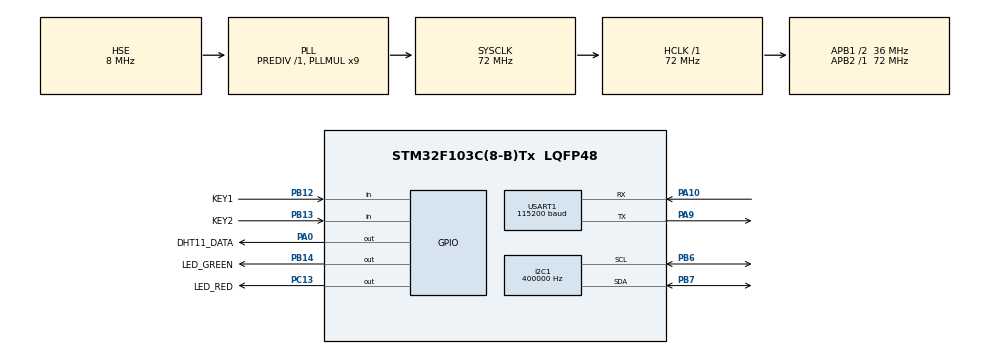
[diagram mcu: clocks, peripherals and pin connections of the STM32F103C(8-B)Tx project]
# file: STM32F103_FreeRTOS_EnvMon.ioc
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Dma.I2C1_TX.0.Direction=DMA_MEMORY_TO_PERIPH
Dma.I2C1_TX.0.Instance=DMA1_Channel6
Dma.I2C1_TX.0.MemDataAlignment=DMA_MDATAALIGN_BYTE
Dma.I2C1_TX.0.MemInc=DMA_MINC_ENABLE
Dma.I2C1_TX.0.Mode=DMA_NORMAL
Dma.I2C1_TX.0.PeriphDataAlignment=DMA_PDATAALIGN_BYTE
Dma.I2C1_TX.0.PeriphInc=DMA_PINC_DISABLE
Dma.I2C1_TX.0.Priority=DMA_PRIORITY_LOW
Dma.Request0=I2C1_TX
FREERTOS.Tasks01=defaultTask,24,128,StartDefaultTask,Default,NULL,Dynamic,NULL,NULL
FREERTOS.configCHECK_FOR_STACK_OVERFLOW=2
FREERTOS.configTOTAL_HEAP_SIZE=10240
FREERTOS.configUSE_MALLOC_FAILED_HOOK=1
I2C1.ClockSpeed=400000
IWDG.Prescaler=IWDG_PRESCALER_64
IWDG.Reload=1250
Mcu.Family=STM32F1
Mcu.Name=STM32F103C(8-B)Tx
Mcu.Package=LQFP48
NVIC.DMA1_Channel6_IRQn=true\:5\:0\:false\:false\:true\:true\:false\:true\:true
NVIC.I2C1_ER_IRQn=true\:6\:0\:false\:false\:true\:true\:true\:true\:true
NVIC.I2C1_EV_IRQn=true\:6\:0\:false\:false\:true\:true\:true\:true\:true
NVIC.PriorityGroup=NVIC_PRIORITYGROUP_4
NVIC.TIM4_IRQn=true\:15\:0\:false\:false\:true\:false\:false\:true\:true
NVIC.TimeBase=TIM4_IRQn
NVIC.TimeBaseIP=TIM4
PA0-WKUP.GPIO_Label=DHT11_DATA
PA0-WKUP.GPIO_ModeDefaultOutputPP=GPIO_MODE_OUTPUT_OD
PA0-WKUP.Signal=GPIO_Output
PA9.Mode=Asynchronous
PA9.Signal=USART1_TX
PA10.Mode=Asynchronous
PA10.Signal=USART1_RX
PB6.Mode=I2C
PB6.Signal=I2C1_SCL
PB7.Mode=I2C
PB7.Signal=I2C1_SDA
PB12.GPIO_Label=KEY1
PB12.GPIO_PuPd=GPIO_PULLUP
PB12.Signal=GPIO_Input
PB13.GPIO_Label=KEY2
PB13.GPIO_PuPd=GPIO_PULLUP
PB13.Signal=GPIO_Input
PB14.GPIO_Label=LED_GREEN
PB14.Signal=GPIO_Output
PC13-TAMPER-RTC.GPIO_Label=LED_RED
PC13-TAMPER-RTC.Signal=GPIO_Output
PD0-OSC_IN.Mode=HSE-External-Oscillator
PD0-OSC_IN.Signal=RCC_OSC_IN
PD1-OSC_OUT.Mode=HSE-External-Oscillator
PD1-OSC_OUT.Signal=RCC_OSC_OUT
ProjectManager.HeapSize=0x200
ProjectManager.StackSize=0x400
ProjectManager.TargetToolchain=STM32CubeIDE
RCC.AHBFreq_Value=72000000
RCC.APB1CLKDivider=RCC_HCLK_DIV2
RCC.APB1Freq_Value=36000000
RCC.APB1TimFreq_Value=72000000
RCC.APB2Freq_Value=72000000
RCC.APB2TimFreq_Value=72000000
RCC.HCLKFreq_Value=72000000
RCC.PLLMUL=RCC_PLL_MUL9
RCC.PLLSourceVirtual=RCC_PLLSOURCE_HSE
RCC.SYSCLKFreq_VALUE=72000000
RCC.SYSCLKSource=RCC_SYSCLKSOURCE_PLLCLK
RCC.USBFreq_Value=48000000
USART1.BaudRate=115200
USART1.VirtualMode=VM_ASYNC
VP_FREERTOS_VS_CMSIS_V2.Mode=CMSIS_V2
VP_IWDG_VS_WDT.Mode=IWDG_Activate
VP_SYS_VS_tim4.Mode=TIM4
board=custom

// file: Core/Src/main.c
/* USER CODE BEGIN Header */
/**
  ******************************************************************************
  * @file           : main.c
  * @brief          : Main program body
  ******************************************************************************
  * @attention
  *
  * Copyright (c) 2026 STMicroelectronics.
  * All rights reserved.
  *
  * This software is licensed under terms that can be found in the LICENSE file
  * in the root directory of this software component.
  * If no LICENSE file comes with this software, it is provided AS-IS.
  *
  ******************************************************************************
  */
/* USER CODE END Header */
#include "main.h"
#include "cmsis_os.h"

/* USER CODE BEGIN Includes */
#include "global.h"
/* USER CODE END Includes */

I2C_HandleTypeDef hi2c1;
DMA_HandleTypeDef hdma_i2c1_tx;
UART_HandleTypeDef huart1;
IWDG_HandleTypeDef hiwdg;

/* USER CODE BEGIN PV */
volatile uint8_t g_dht_error_count = 0;
osMutexId_t i2cMutexHandle;
/* USER CODE END PV */

void SystemClock_Config(void);
static void MX_GPIO_Init(void);
static void MX_DMA_Init(void);
static void MX_I2C1_Init(void);
static void MX_USART1_UART_Init(void);
static void MX_IWDG_Init(void);
extern void MX_FREERTOS_Init(void);

/* USER CODE BEGIN PFP */
static void DWT_Init(void);
/* USER CODE END PFP */

/* USER CODE BEGIN 0 */
static void DWT_Init(void) {
    CoreDebug->DEMCR |= CoreDebug_DEMCR_TRCENA_Msk;
    DWT->CYCCNT = 0;
    DWT->CTRL |= DWT_CTRL_CYCCNTENA_Msk;
}
/* USER CODE END 0 */

int main(void)
{

  /* MCU Configuration--------------------------------------------------------*/

  /* Reset of all peripherals, Initializes the Flash interface and the Systick. */
  HAL_Init();

  /* Configure the system clock */
  SystemClock_Config();

  /* Initialize all configured peripherals */
  MX_GPIO_Init();
  MX_DMA_Init();
  MX_I2C1_Init();
  MX_USART1_UART_Init();
  MX_IWDG_Init();
  /* USER CODE BEGIN 2 */
  DWT_Init();
  /* USER CODE END 2 */

  /* Init scheduler */
  osKernelInitialize();

  /* USER CODE BEGIN RTOS_MUTEX */
  const osMutexAttr_t i2cMutex_attr = {
      .name = "i2cMutex",
      .attr_bits = osMutexPrioInherit,
      .cb_mem = NULL,
      .cb_size = 0U
  };
  i2cMutexHandle = osMutexNew(&i2cMutex_attr);
  /* USER CODE END RTOS_MUTEX */

  /* Create the thread(s) */
  MX_FREERTOS_Init();

  /* Start scheduler */
  osKernelStart();
  /* We should never get here as control is now taken by the scheduler */
  /* Infinite loop */
  while (1)
  {

  }
}

void SystemClock_Config(void)
{
  RCC_OscInitTypeDef RCC_OscInitStruct = {0};
  RCC_ClkInitTypeDef RCC_ClkInitStruct = {0};

  /** Initializes the RCC Oscillators according to the specified parameters
  * in the RCC_OscInitTypeDef structure.
  * HSE 8MHz crystal + PLL x9 = 72MHz SYSCLK
  * LSI enabled for IWDG
  */
  RCC_OscInitStruct.OscillatorType = RCC_OSCILLATORTYPE_HSE | RCC_OSCILLATORTYPE_LSI;
  RCC_OscInitStruct.HSEState = RCC_HSE_ON;
  RCC_OscInitStruct.HSEPredivValue = RCC_HSE_PREDIV_DIV1;
  RCC_OscInitStruct.HSIState = RCC_HSI_ON;
  RCC_OscInitStruct.LSIState = RCC_LSI_ON;
  RCC_OscInitStruct.PLL.PLLState = RCC_PLL_ON;
  RCC_OscInitStruct.PLL.PLLSource = RCC_PLLSOURCE_HSE;
  RCC_OscInitStruct.PLL.PLLMUL = RCC_PLL_MUL9;
  if (HAL_RCC_OscConfig(&RCC_OscInitStruct) != HAL_OK)
  {
    Error_Handler();
  }

  /** Initializes the CPU, AHB and APB buses clocks
  * HCLK  = 72MHz (AHB /1)
  * PCLK1 = 36MHz (APB1 /2)
  * PCLK2 = 72MHz (APB2 /1)
  */
  RCC_ClkInitStruct.ClockType = RCC_CLOCKTYPE_HCLK|RCC_CLOCKTYPE_SYSCLK
                              |RCC_CLOCKTYPE_PCLK1|RCC_CLOCKTYPE_PCLK2;
  RCC_ClkInitStruct.SYSCLKSource = RCC_SYSCLKSOURCE_PLLCLK;
  RCC_ClkInitStruct.AHBCLKDivider = RCC_SYSCLK_DIV1;
  RCC_ClkInitStruct.APB1CLKDivider = RCC_HCLK_DIV2;
  RCC_ClkInitStruct.APB2CLKDivider = RCC_HCLK_DIV1;

  if (HAL_RCC_ClockConfig(&RCC_ClkInitStruct, FLASH_LATENCY_2) != HAL_OK)
  {
    Error_Handler();
  }
}

static void MX_I2C1_Init(void)
{

  hi2c1.Instance = I2C1;
  hi2c1.Init.ClockSpeed = 400000;
  hi2c1.Init.DutyCycle = I2C_DUTYCYCLE_2;
  hi2c1.Init.OwnAddress1 = 0;
  hi2c1.Init.AddressingMode = I2C_ADDRESSINGMODE_7BIT;
  hi2c1.Init.DualAddressMode = I2C_DUALADDRESS_DISABLE;
  hi2c1.Init.OwnAddress2 = 0;
  hi2c1.Init.GeneralCallMode = I2C_GENERALCALL_DISABLE;
  hi2c1.Init.NoStretchMode = I2C_NOSTRETCH_DISABLE;
  if (HAL_I2C_Init(&hi2c1) != HAL_OK)
  {
    Error_Handler();
  }

}

static void MX_USART1_UART_Init(void)
{

  huart1.Instance = USART1;
  huart1.Init.BaudRate = 115200;
  huart1.Init.WordLength = UART_WORDLENGTH_8B;
  huart1.Init.StopBits = UART_STOPBITS_1;
  huart1.Init.Parity = UART_PARITY_NONE;
  huart1.Init.Mode = UART_MODE_TX_RX;
  huart1.Init.HwFlowCtl = UART_HWCONTROL_NONE;
  huart1.Init.OverSampling = UART_OVERSAMPLING_16;
  if (HAL_UART_Init(&huart1) != HAL_OK)
  {
    Error_Handler();
  }

}

static void MX_IWDG_Init(void)
{

  hiwdg.Instance = IWDG;
  hiwdg.Init.Prescaler = IWDG_PRESCALER_64;
  hiwdg.Init.Reload = 1250;
  if (HAL_IWDG_Init(&hiwdg) != HAL_OK)
  {
    Error_Handler();
  }

}

static void MX_DMA_Init(void)
{

  /* DMA controller clock enable */
  __HAL_RCC_DMA1_CLK_ENABLE();

  /* DMA interrupt init */
  /* DMA1_Channel6_IRQn interrupt configuration */
  HAL_NVIC_SetPriority(DMA1_Channel6_IRQn, 5, 0);
  HAL_NVIC_EnableIRQ(DMA1_Channel6_IRQn);

}

static void MX_GPIO_Init(void)
{
  GPIO_InitTypeDef GPIO_InitStruct = {0};

  /* GPIO Ports Clock Enable */
  __HAL_RCC_GPIOA_CLK_ENABLE();
  __HAL_RCC_GPIOB_CLK_ENABLE();
  __HAL_RCC_GPIOC_CLK_ENABLE();
  __HAL_RCC_GPIOD_CLK_ENABLE();

  /*Configure GPIO pin Output Level */
  HAL_GPIO_WritePin(GPIOA, GPIO_PIN_0, GPIO_PIN_SET);
  HAL_GPIO_WritePin(GPIOB, GPIO_PIN_14, GPIO_PIN_RESET);
  HAL_GPIO_WritePin(GPIOC, GPIO_PIN_13, GPIO_PIN_SET);

  /*Configure GPIO pin : PA0 (DHT11 DATA - Open Drain) */
  GPIO_InitStruct.Pin = GPIO_PIN_0;
  GPIO_InitStruct.Mode = GPIO_MODE_OUTPUT_OD;
  GPIO_InitStruct.Pull = GPIO_NOPULL;
  GPIO_InitStruct.Speed = GPIO_SPEED_FREQ_HIGH;
  HAL_GPIO_Init(GPIOA, &GPIO_InitStruct);

  /*Configure GPIO pins : PB12 PB13 (KEY1 KEY2 - Input Pull-Up) */
  GPIO_InitStruct.Pin = GPIO_PIN_12|GPIO_PIN_13;
  GPIO_InitStruct.Mode = GPIO_MODE_INPUT;
  GPIO_InitStruct.Pull = GPIO_PULLUP;
  HAL_GPIO_Init(GPIOB, &GPIO_InitStruct);

  /*Configure GPIO pin : PB14 (LED Green - Push-Pull) */
  GPIO_InitStruct.Pin = GPIO_PIN_14;
  GPIO_InitStruct.Mode = GPIO_MODE_OUTPUT_PP;
  GPIO_InitStruct.Pull = GPIO_NOPULL;
  GPIO_InitStruct.Speed = GPIO_SPEED_FREQ_LOW;
  HAL_GPIO_Init(GPIOB, &GPIO_InitStruct);

  /*Configure GPIO pin : PC13 (LED Red/Onboard - Push-Pull, Active Low) */
  GPIO_InitStruct.Pin = GPIO_PIN_13;
  GPIO_InitStruct.Mode = GPIO_MODE_OUTPUT_PP;
  GPIO_InitStruct.Pull = GPIO_NOPULL;
  GPIO_InitStruct.Speed = GPIO_SPEED_FREQ_LOW;
  HAL_GPIO_Init(GPIOC, &GPIO_InitStruct);

}

void HAL_TIM_PeriodElapsedCallback(TIM_HandleTypeDef *htim)
{
  if (htim->Instance == TIM4) {
    HAL_IncTick();
  }
}

void Error_Handler(void)
{
  __disable_irq();
  while (1)
  {
  }
}

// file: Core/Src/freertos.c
/* USER CODE BEGIN Header */
/**
  ******************************************************************************
  * File Name          : freertos.c
  * Description        : Code for freertos applications
  ******************************************************************************
  * @attention
  *
  * Copyright (c) 2026 STMicroelectronics.
  * All rights reserved.
  *
  * This software is licensed under terms that can be found in the LICENSE file
  * in the root directory of this software component.
  * If no LICENSE file comes with this software, it is provided AS-IS.
  *
  ******************************************************************************
  */
/* USER CODE END Header */

#include "FreeRTOS.h"
#include "task.h"
#include "main.h"
#include "cmsis_os2.h"

/* USER CODE BEGIN Includes */
#include "global.h"
#include "tasks.h"
#include "debug.h"
/* USER CODE END Includes */

/* USER CODE BEGIN Variables */
osMessageQueueId_t xQueueSensorDataHandle;
osMessageQueueId_t xQueueKeyEventHandle;
osSemaphoreId_t    oledDmaSemaHandle;
/* USER CODE END Variables */

/* ---- Hook functions required by configCHECK_FOR_STACK_OVERFLOW and configUSE_MALLOC_FAILED_HOOK ---- */

void vApplicationStackOverflowHook(TaskHandle_t xTask, char *pcTaskName)
{
  (void)xTask;
  DEBUG_Log("[FATAL] Stack overflow in task: %s\r\n", pcTaskName);
  Error_Handler();
}

void vApplicationMallocFailedHook(void)
{
  DEBUG_Log("[FATAL] Malloc failed!\r\n");
  Error_Handler();
}

void MX_FREERTOS_Init(void)
{
  /* USER CODE BEGIN RTOS_Init */

  /* Create Queues */
  xQueueSensorDataHandle = osMessageQueueNew(5, sizeof(SensorData_t), NULL);
  xQueueKeyEventHandle   = osMessageQueueNew(10, sizeof(uint8_t), NULL);

  /* Create Semaphore for OLED DMA complete notification (initial count = 0) */
  oledDmaSemaHandle = osSemaphoreNew(1, 0, NULL);

  /* Task attributes */
  const osThreadAttr_t attr_DHT = {
      .name = "TaskDHT",
      .stack_size = 256 * 4,
      .priority = (osPriority_t) osPriorityNormal,
  };
  const osThreadAttr_t attr_OLED = {
      .name = "TaskOLED",
      .stack_size = 512 * 4,
      .priority = (osPriority_t) osPriorityNormal,
  };
  const osThreadAttr_t attr_Key = {
      .name = "TaskKey",
      .stack_size = 128 * 4,
      .priority = (osPriority_t) osPriorityAboveNormal,
  };
  const osThreadAttr_t attr_LED = {
      .name = "TaskLED",
      .stack_size = 128 * 4,
      .priority = (osPriority_t) osPriorityBelowNormal,
  };
  const osThreadAttr_t attr_Error = {
      .name = "TaskError",
      .stack_size = 256 * 4,
      .priority = (osPriority_t) osPriorityBelowNormal,
  };

  /* Create Tasks */
  osThreadNew(StartTaskDHT,   NULL, &attr_DHT);
  osThreadNew(StartTaskOLED,  NULL, &attr_OLED);
  osThreadNew(StartTaskKey,   NULL, &attr_Key);
  osThreadNew(StartTaskLED,   NULL, &attr_LED);
  osThreadNew(StartTaskError, NULL, &attr_Error);

  /* USER CODE END RTOS_Init */
}

/* USER CODE BEGIN Application */

/* Idle task requires static memory when configSUPPORT_STATIC_ALLOCATION is 1 */
void vApplicationGetIdleTaskMemory(StaticTask_t **ppxIdleTaskTCBBuffer,
                                   StackType_t **ppxIdleTaskStackBuffer,
                                   uint32_t *pulIdleTaskStackSize)
{
  static StaticTask_t xIdleTaskTCB;
  static StackType_t  uxIdleTaskStack[configMINIMAL_STACK_SIZE];

  *ppxIdleTaskTCBBuffer   = &xIdleTaskTCB;
  *ppxIdleTaskStackBuffer = uxIdleTaskStack;
  *pulIdleTaskStackSize   = configMINIMAL_STACK_SIZE;
}

void vApplicationGetTimerTaskMemory(StaticTask_t **ppxTimerTaskTCBBuffer,
                                    StackType_t **ppxTimerTaskStackBuffer,
                                    uint32_t *pulTimerTaskStackSize)
{
  static StaticTask_t xTimerTaskTCB;
  static StackType_t  uxTimerTaskStack[configTIMER_TASK_STACK_DEPTH];

  *ppxTimerTaskTCBBuffer   = &xTimerTaskTCB;
  *ppxTimerTaskStackBuffer = uxTimerTaskStack;
  *pulTimerTaskStackSize   = configTIMER_TASK_STACK_DEPTH;
}

/* USER CODE END Application */
